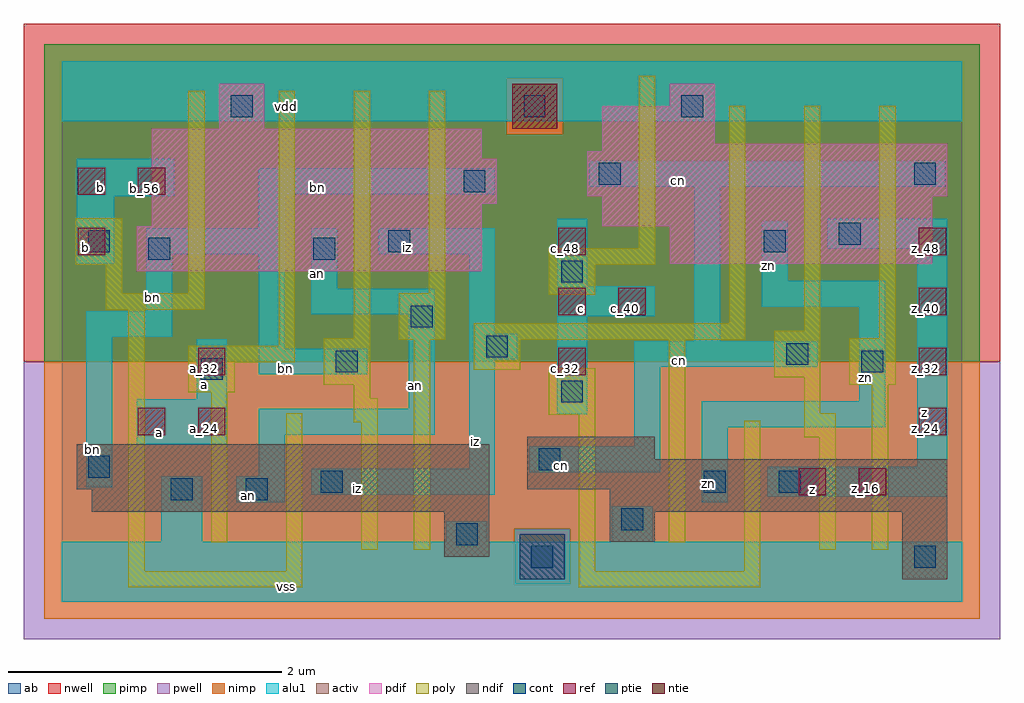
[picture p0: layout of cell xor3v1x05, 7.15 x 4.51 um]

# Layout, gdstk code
import gdstk
lib = gdstk.Library(unit=1e-6, precision=2.5e-09)
def R(c, l, rs):  # rectangles x0, y0, x1, y1
    for r in rs: c.add(gdstk.rectangle(r[:2], r[2:], *l))
def A(c, l, x, y, w, h, nx, ny, dx, dy):  # array of equal rectangles
    R(c, l, [(x+i*dx, y+j*dy, x+i*dx+w, y+j*dy+h) for i in range(nx) for j in range(ny)])
ndif = (3, 0)
pdif = (4, 0)
ntie = (5, 0)
ptie = (6, 0)
ref = (24, 0)
cont = (25, 0)
pwell = (41, 0)
nwell = (42, 0)
activ = (43, 0)
pimp = (44, 0)
nimp = (45, 0)
poly = (46, 0)
alu1 = (49, 0)
ab = (63, 0)

xor3v1x05 = lib.new_cell('xor3v1x05')
R(xor3v1x05, ndif, [(6.16,0.165,6.49,0.66), (2.805,0.33,3.135,0.66), (4.015,0.44,4.345,0.66), (0.22,0.66,3.135,0.825), (4.015,0.66,6.49,0.825), (0.11,0.825,3.135,1.155), (3.41,0.825,6.49,1.045), (3.41,1.045,4.345,1.21)])
R(xor3v1x05, pdif, [(0.55,2.42,3.08,2.75), (4.455,2.475,6.38,2.75), (0.66,2.75,3.08,2.915), (3.96,2.75,6.38,2.97), (0.66,2.915,3.19,3.245), (3.85,2.97,6.49,3.3), (0.66,3.245,3.08,3.465), (3.96,3.3,6.49,3.355), (3.96,3.355,4.785,3.63), (1.155,3.465,1.485,3.795), (4.455,3.63,4.785,3.795)])
R(xor3v1x05, ntie, [(3.3,3.465,3.63,3.795)])
R(xor3v1x05, ptie, [(3.355,0.165,3.685,0.495)])
A(xor3v1x05, ref, 1, 1.66, 0.2, 0.2, 3, 1, 2.64, 0)
R(xor3v1x05, ref, [(5.4,0.78,5.6,0.98), (5.84,0.78,6.04,0.98), (0.56,1.22,0.76,1.42), (1,1.22,1.2,1.42), (6.28,1.22,6.48,1.42), (3.64,2.1,3.84,2.3), (4.08,2.1,4.28,2.3), (6.28,2.1,6.48,2.3), (0.12,2.54,0.32,2.74), (3.64,2.54,3.84,2.74), (6.28,2.54,6.48,2.74), (0.12,2.98,0.32,3.18), (0.56,2.98,0.76,3.18)])
R(xor3v1x05, cont, [(3.44,0.25,3.6,0.41), (6.245,0.25,6.405,0.41), (2.89,0.415,3.05,0.575), (4.1,0.525,4.26,0.685), (0.8,0.745,0.96,0.905), (1.35,0.745,1.51,0.905), (1.9,0.8,2.06,0.96), (4.705,0.8,4.865,0.96), (5.255,0.8,5.415,0.96), (0.195,0.91,0.355,1.07), (3.495,0.965,3.655,1.125), (3.66,1.46,3.82,1.62), (1.02,1.625,1.18,1.785), (2.01,1.68,2.17,1.84), (5.86,1.68,6.02,1.84), (5.31,1.735,5.47,1.895), (3.11,1.79,3.27,1.95), (2.56,2.01,2.72,2.17), (3.66,2.34,3.82,2.5), (0.635,2.505,0.795,2.665), (1.845,2.505,2.005,2.665), (0.195,2.56,0.355,2.72), (2.395,2.56,2.555,2.72), (5.145,2.56,5.305,2.72), (5.695,2.615,5.855,2.775), (2.945,3,3.105,3.16), (3.935,3.055,4.095,3.215), (6.245,3.055,6.405,3.215), (1.24,3.55,1.4,3.71), (3.385,3.55,3.545,3.71), (4.54,3.55,4.7,3.71)])
R(xor3v1x05, pwell, [(-0.275,-0.275,6.875,1.76)])
R(xor3v1x05, nwell, [(-0.275,1.76,6.875,4.235)])
R(xor3v1x05, activ, [(3.355,0.165,3.685,0.495), (6.16,0.165,6.49,0.66), (2.805,0.33,3.135,0.66), (4.015,0.44,4.345,0.66), (0.22,0.66,3.135,0.825), (4.015,0.66,6.49,0.825), (0.11,0.825,3.135,1.155), (3.41,0.825,6.49,1.045), (3.41,1.045,4.345,1.21), (0.55,2.42,3.08,2.75), (4.455,2.475,6.38,2.75), (0.66,2.75,3.08,2.915), (3.96,2.75,6.38,2.97), (0.66,2.915,3.19,3.245), (3.85,2.97,6.49,3.3), (0.66,3.245,3.08,3.465), (3.96,3.3,6.49,3.355), (3.96,3.355,4.785,3.63), (1.155,3.465,1.485,3.795), (3.3,3.465,3.63,3.795), (4.455,3.63,4.785,3.795)])
R(xor3v1x05, pimp, [(3.315,0.125,3.725,0.535), (-0.125,1.76,6.725,3.425), (-0.125,3.425,3.26,3.835), (3.67,3.425,6.725,3.835), (-0.125,3.835,6.725,4.085)])
R(xor3v1x05, nimp, [(-0.125,-0.125,6.725,0.125), (-0.125,0.125,3.315,0.535), (3.725,0.125,6.725,0.535), (-0.125,0.535,6.725,1.76), (3.26,3.425,3.67,3.835)])
R(xor3v1x05, poly, [(0.49,0.105,1.765,0.225), (3.79,0.105,5.12,0.225), (0.49,0.225,0.61,2.14), (1.645,0.225,1.765,1.38), (3.79,0.225,3.91,1.37), (5,0.225,5.12,1.325), (2.195,0.38,2.315,1.315), (2.58,0.38,2.7,1.92), (5.55,0.38,5.67,1.205), (5.935,0.38,6.055,1.59), (1.095,0.435,1.215,1.535), (4.45,0.435,4.57,1.92), (5.44,1.205,5.67,1.38), (2.14,1.315,2.315,1.49), (3.57,1.37,3.91,1.71), (5.44,1.38,5.56,1.645), (2.14,1.49,2.26,1.59), (0.93,1.535,1.27,1.755), (1.92,1.59,2.26,1.93), (5.77,1.59,6.11,1.93), (5.22,1.645,5.56,1.985), (3.02,1.7,3.36,1.92), (0.93,1.755,1.71,1.875), (1.59,1.875,1.71,3.745), (2.47,1.92,2.81,2.26), (3.02,1.92,5.01,2.04), (2.14,1.93,2.26,3.745), (5.99,1.93,6.11,3.635), (5.44,1.985,5.56,3.635), (4.89,2.04,5.01,3.635), (0.325,2.14,1.05,2.26), (3.57,2.25,3.91,2.47), (0.325,2.26,0.445,2.47), (0.93,2.26,1.05,3.745), (2.69,2.26,2.81,3.745), (0.105,2.47,0.445,2.81), (3.57,2.47,4.35,2.59), (4.23,2.59,4.35,3.855)])
R(xor3v1x05, alu1, [(0,0,6.6,0.44), (0.73,0.44,1.03,0.92), (2.82,0.44,3.12,0.59), (4.03,0.44,4.33,0.7), (1.28,0.73,1.635,0.92), (4.69,0.73,4.88,1.28), (5.17,0.77,6.49,0.99), (1.83,0.785,3.175,0.975), (0.18,0.84,0.37,1.94), (1.445,0.92,1.635,1.225), (3.425,0.95,4.385,1.14), (2.985,0.975,3.175,1.775), (6.27,0.99,6.49,2.585), (4.195,1.14,4.385,1.72), (0.55,1.155,1.21,1.485), (1.445,1.225,2.735,1.415), (4.69,1.28,6.035,1.47), (3.63,1.375,3.85,2.09), (2.545,1.415,2.735,2.105), (5.845,1.47,6.035,2.16), (0.99,1.485,1.21,1.925), (1.445,1.665,2.24,1.855), (4.195,1.72,5.54,1.91), (2.985,1.775,3.34,1.965), (1.445,1.855,1.635,2.545), (4.635,1.91,4.825,3.04), (0.18,1.94,0.81,2.13), (2.985,1.965,3.175,2.545), (3.63,2.09,4.345,2.31), (1.83,2.105,2.735,2.295), (0.62,2.13,0.81,2.545), (5.13,2.16,6.035,2.35), (1.83,2.295,2.02,2.735), (3.63,2.31,3.85,2.805), (5.13,2.35,5.32,2.79), (0.11,2.475,0.385,2.97), (0.62,2.545,1.635,2.735), (2.325,2.545,3.175,2.735), (5.61,2.585,6.49,2.805), (1.445,2.735,1.635,2.985), (0.11,2.97,0.825,3.245), (1.445,2.985,3.175,3.175), (3.865,3.04,6.475,3.23), (0,3.52,6.6,3.96)])
R(xor3v1x05, ab, [(0,0,6.6,3.96)])
xor3v1x05.add(gdstk.Label('vss', (1.65,0.11), layer=49, texttype=0))
xor3v1x05.add(gdstk.Label('z', (5.5,0.825), layer=49, texttype=0))
xor3v1x05.add(gdstk.Label('z', (6.325,1.3875), layer=49, texttype=0))
xor3v1x05.add(gdstk.Label('zn', (4.7375,0.8675), layer=49, texttype=0))
xor3v1x05.add(gdstk.Label('cn', (3.665,0.9975), layer=49, texttype=0))
xor3v1x05.add(gdstk.Label('iz', (2.165,0.8325), layer=49, texttype=0))
xor3v1x05.add(gdstk.Label('an', (1.3675,0.7775), layer=49, texttype=0))
xor3v1x05.add(gdstk.Label('zn', (5.8925,1.6425), layer=49, texttype=0))
xor3v1x05.add(gdstk.Label('cn', (4.53,1.7675), layer=49, texttype=0))
xor3v1x05.add(gdstk.Label('zn', (5.1775,2.46), layer=49, texttype=0))
xor3v1x05.add(gdstk.Label('iz', (3.0325,1.175), layer=49, texttype=0))
xor3v1x05.add(gdstk.Label('c', (3.8075,2.145), layer=49, texttype=0))
xor3v1x05.add(gdstk.Label('an', (2.5925,1.5875), layer=49, texttype=0))
xor3v1x05.add(gdstk.Label('a', (0.715,1.2375), layer=49, texttype=0))
xor3v1x05.add(gdstk.Label('bn', (1.6425,1.7125), layer=49, texttype=0))
xor3v1x05.add(gdstk.Label('iz', (2.5375,2.5925), layer=49, texttype=0))
xor3v1x05.add(gdstk.Label('an', (1.8775,2.405), layer=49, texttype=0))
xor3v1x05.add(gdstk.Label('a', (1.045,1.595), layer=49, texttype=0))
xor3v1x05.add(gdstk.Label('bn', (0.2275,1.115), layer=49, texttype=0))
xor3v1x05.add(gdstk.Label('bn', (0.6675,2.2325), layer=49, texttype=0))
xor3v1x05.add(gdstk.Label('b', (0.1775,2.5975), layer=49, texttype=0))
xor3v1x05.add(gdstk.Label('cn', (4.5175,3.0875), layer=49, texttype=0))
xor3v1x05.add(gdstk.Label('bn', (1.8775,3.0325), layer=49, texttype=0))
xor3v1x05.add(gdstk.Label('b', (0.2875,3.0375), layer=49, texttype=0))
xor3v1x05.add(gdstk.Label('vdd', (1.65,3.63), layer=49, texttype=0))
xor3v1x05.add(gdstk.Label('z_16', (5.45,0.83), layer=24, texttype=0))
xor3v1x05.add(gdstk.Label('z_16', (5.89,0.83), layer=24, texttype=0))
xor3v1x05.add(gdstk.Label('z_24', (6.33,1.27), layer=24, texttype=0))
xor3v1x05.add(gdstk.Label('z_32', (6.33,1.71), layer=24, texttype=0))
xor3v1x05.add(gdstk.Label('z_40', (6.33,2.15), layer=24, texttype=0))
xor3v1x05.add(gdstk.Label('z_48', (6.33,2.59), layer=24, texttype=0))
xor3v1x05.add(gdstk.Label('a_24', (0.61,1.27), layer=24, texttype=0))
xor3v1x05.add(gdstk.Label('b_56', (0.61,3.03), layer=24, texttype=0))
xor3v1x05.add(gdstk.Label('a_24', (1.05,1.27), layer=24, texttype=0))
xor3v1x05.add(gdstk.Label('a_32', (1.05,1.71), layer=24, texttype=0))
xor3v1x05.add(gdstk.Label('b_48', (0.17,2.59), layer=24, texttype=0))
xor3v1x05.add(gdstk.Label('b_56', (0.17,3.03), layer=24, texttype=0))
xor3v1x05.add(gdstk.Label('c_32', (3.69,1.71), layer=24, texttype=0))
xor3v1x05.add(gdstk.Label('c_40', (3.69,2.15), layer=24, texttype=0))
xor3v1x05.add(gdstk.Label('c_48', (3.69,2.59), layer=24, texttype=0))
xor3v1x05.add(gdstk.Label('c_40', (4.13,2.15), layer=24, texttype=0))

lib.write_gds('xor3v1x05.gds')
